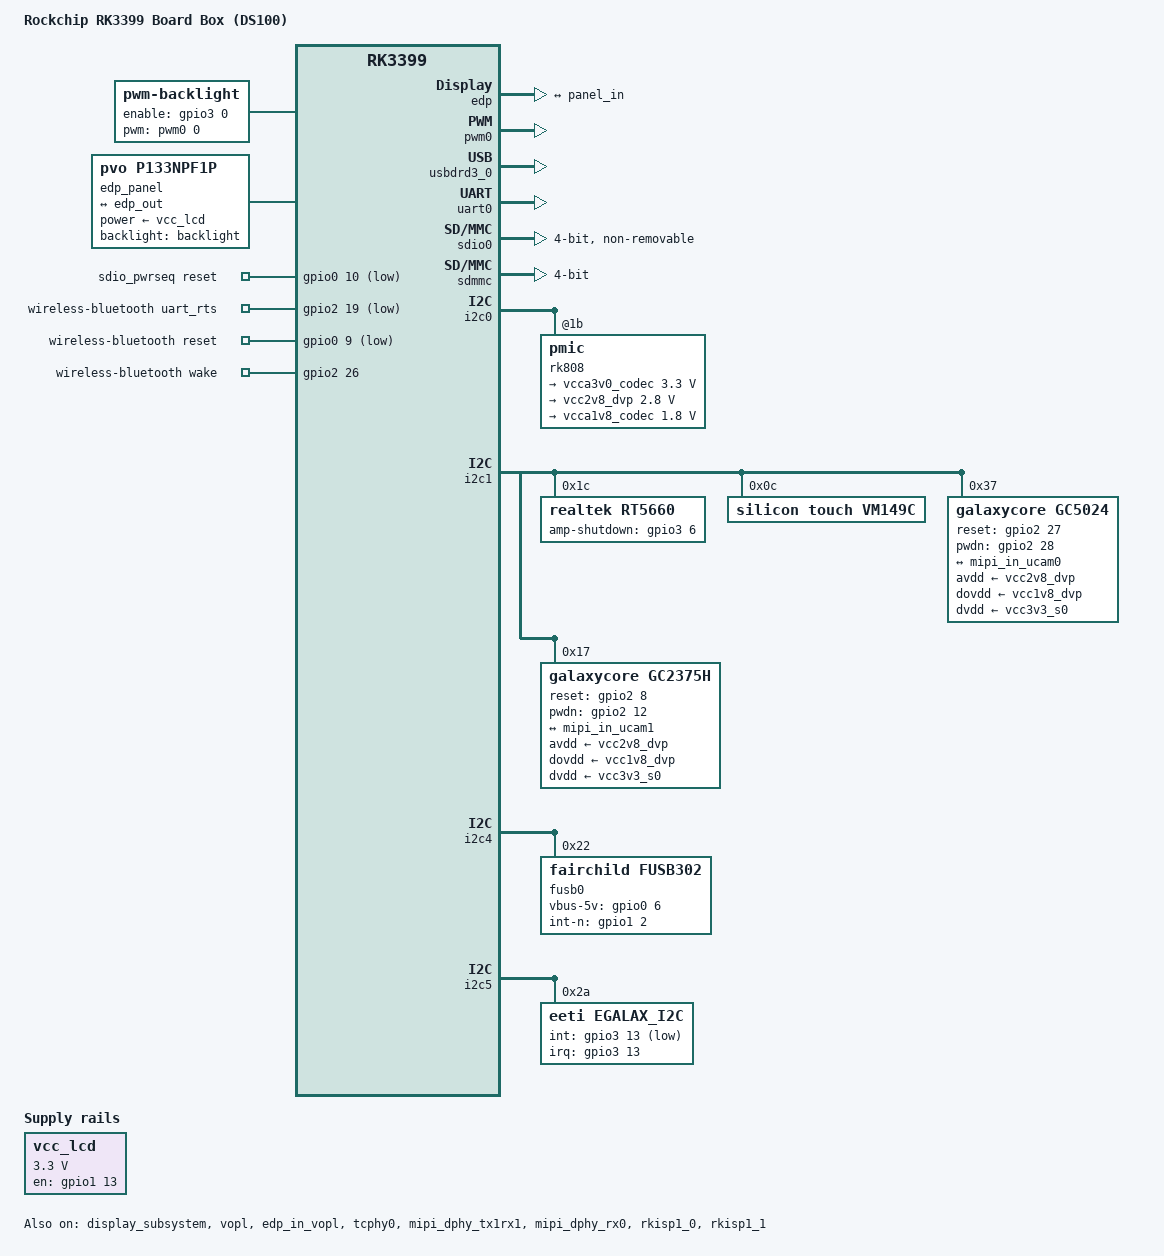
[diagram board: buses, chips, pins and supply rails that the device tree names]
/*
 * Copyright (c) 2016 Fuzhou Rockchip Electronics Co., Ltd
 *
 * This file is dual-licensed: you can use it either under the terms
 * of the GPL or the X11 license, at your option. Note that this dual
 * licensing only applies to this file, and not this project as a
 * whole.
 *
 *  a) This file is free software; you can redistribute it and/or
 *     modify it under the terms of the GNU General Public License as
 *     published by the Free Software Foundation; either version 2 of the
 *     License, or (at your option) any later version.
 *
 *     This file is distributed in the hope that it will be useful,
 *     but WITHOUT ANY WARRANTY; without even the implied warranty of
 *     MERCHANTABILITY or FITNESS FOR A PARTICULAR PURPOSE.  See the
 *     GNU General Public License for more details.
 *
 * Or, alternatively,
 *
 *  b) Permission is hereby granted, free of charge, to any person
 *     obtaining a copy of this software and associated documentation
 *     files (the "Software"), to deal in the Software without
 *     restriction, including without limitation the rights to use,
 *     copy, modify, merge, publish, distribute, sublicense, and/or
 *     sell copies of the Software, and to permit persons to whom the
 *     Software is furnished to do so, subject to the following
 *     conditions:
 *
 *     The above copyright notice and this permission notice shall be
 *     included in all copies or substantial portions of the Software.
 *
 *     THE SOFTWARE IS PROVIDED "AS IS", WITHOUT WARRANTY OF ANY KIND,
 *     EXPRESS OR IMPLIED, INCLUDING BUT NOT LIMITED TO THE WARRANTIES
 *     OF MERCHANTABILITY, FITNESS FOR A PARTICULAR PURPOSE AND
 *     NONINFRINGEMENT. IN NO EVENT SHALL THE AUTHORS OR COPYRIGHT
 *     HOLDERS BE LIABLE FOR ANY CLAIM, DAMAGES OR OTHER LIABILITY,
 *     WHETHER IN AN ACTION OF CONTRACT, TORT OR OTHERWISE, ARISING
 *     FROM, OUT OF OR IN CONNECTION WITH THE SOFTWARE OR THE USE OR
 *     OTHER DEALINGS IN THE SOFTWARE.
 */

/dts-v1/;
#include "rk3399-dmssa53.dtsi"

/ {
	model = "Rockchip RK3399 Board Box (DS100)";
	compatible = "rockchip-ds100","rockchip,rk3399-box";

	fiq_debugger: fiq-debugger {
		compatible = "rockchip,fiq-debugger";
		rockchip,serial-id = <2>;
		rockchip,wake-irq = <0>;
		rockchip,irq-mode-enable = <0>;  /* If enable uart uses irq instead of fiq */
		rockchip,baudrate = <115200>;  /* Only 115200 and 1500000 */
		pinctrl-names = "default";
		pinctrl-0 = <&uart2c_xfer>;
		interrupts = <GIC_SPI 150 IRQ_TYPE_LEVEL_HIGH 0>;
	};

	backlight: backlight {
		status = "okay";
		compatible = "pwm-backlight";
		pwms = <&pwm0 0 5000000 0>; //200 Hz
		enable-gpios = <&gpio3 0 GPIO_ACTIVE_HIGH>; //GPIO3_A0
		brightness-levels = <
			  0   1   2   3   4   5   6   7
			  8   9  10  11  12  13  14  15
			 16  17  18  19  20  21  22  23
			 24  25  26  27  28  29  30  31
			 32  33  34  35  36  37  38  39
			 40  41  42  43  44  45  46  47
			 48  49  50  51  52  53  54  55
			 56  57  58  59  60  61  62  63
			 64  65  66  67  68  69  70  71
			 72  73  74  75  76  77  78  79
			 80  81  82  83  84  85  86  87
			 88  89  90  91  92  93  94  95
			 96  97  98  99 100 101 102 103
			104 105 106 107 108 109 110 111
			112 113 114 115 116 117 118 119
			120 121 122 123 124 125 126 127
			128 129 130 131 132 133 134 135
			136 137 138 139 140 141 142 143
			144 145 146 147 148 149 150 151
			152 153 154 155 156 157 158 159
			160 161 162 163 164 165 166 167
			168 169 170 171 172 173 174 175
			176 177 178 179 180 181 182 183
			184 185 186 187 188 189 190 191
			192 193 194 195 196 197 198 199
			200 201 202 203 204 205 206 207
			208 209 210 211 212 213 214 215
			216 217 218 219 220 221 222 223
			224 225 226 227 228 229 230 231
			232 233 234 235 236 237 238 239
			240 241 242 243 244 245 246 247
			248 249 250 251 252 253 254 255>;
		default-brightness-level = <200>;
	};

	edp_panel: edp-panel {
		status = "okay";
		compatible = "pvo,p133npf1p", "panel-simple";
		backlight = <&backlight>;
		power-supply = <&vcc_lcd>;

		ports {
			panel_in: endpoint {
				remote-endpoint = <&edp_out>;
			};
		};
	};

	vcc_lcd: vcc-lcd-regulator {
		compatible = "regulator-fixed";
		enable-active-high;
		regulator-name = "vcc_lcd";
		gpio = <&gpio1 13 GPIO_ACTIVE_HIGH>;
		pinctrl-names = "default";
		pinctrl-0 = <&lcd_en>;
		regulator-always-on;
		regulator-boot-on;
		regulator-min-microvolt = <3300000>;
		regulator-max-microvolt = <3300000>;
	};

	sdio_pwrseq: sdio-pwrseq {
		compatible = "mmc-pwrseq-simple";
		clocks = <&rk808 1>;
		clock-names = "clk_wifi_pmu";
		pinctrl-names = "default";
		pinctrl-0 = <&wifi_enable_h>;

		/*
		 * On the module itself this is one of these (depending
		 * on the actual card populated):
		 * - SDIO_RESET_L_WL_REG_ON
		 * - PDN (power down when low)
		 */
		reset-gpios = <&gpio0 10 GPIO_ACTIVE_LOW>;  /* GPIO0_B2 - WIFI_REG_ON_H */
	};

	wireless-wlan {
		compatible = "wlan-platdata";
		rockchip,grf = <&grf>;
		wifi_chip_type = "ap6398s";
		sdio_vref = <1800>;
		status = "okay";
	};

	wireless-bluetooth {
		compatible = "bluetooth-platdata";
		clocks = <&rk808 1>;
		clock-names = "ext_clock";
		/* wifi-bt-power-toggle; */
		uart_rts_gpios = <&gpio2 19 GPIO_ACTIVE_LOW>; /* GPIO2_C3 - UART0_RTS */
		pinctrl-names = "default", "rts_gpio";
		pinctrl-0 = <&uart0_rts>;
		pinctrl-1 = <&uart0_gpios>;
		/* BT,power_gpio  = <&gpio3 19 GPIO_ACTIVE_HIGH>; */
		BT,reset_gpio    = <&gpio0 9 GPIO_ACTIVE_LOW>; /* GPIO0_B1 - BT_REG_ON_H */
		BT,wake_gpio     = <&gpio2 26 GPIO_ACTIVE_HIGH>; /* GPIO2_D2- BT_WAKE_L */
		/* BT,wake_host_irq = <&gpio0 4 GPIO_ACTIVE_HIGH>; */
		status = "okay";
	};

	rt5660-sound {
		compatible = "rockchip,rockchip-audio-rt5660";
		rockchip,model = "rockchip_rt5660";
		rockchip,i2s-controller = <&i2s0>;
		rockchip,audio-codec = <&rt5660>;
	};
};

&display_subsystem {
	status = "okay";
	ports = <&vopb_out>, <&vopl_out>;
	logo-memory-region = <&drm_logo>;
	route {
		route_edp: route-edp {
			status = "okay";
			logo,uboot = "logo.bmp";
			logo,kernel = "logo_kernel.bmp";
			logo,mode = "center";
			charge_logo,mode = "center";
			connect = <&vopl_out_edp>;
		};
	};
};

&edp {
	status = "okay";
	pinctrl-names = "default";
	pinctrl-0 = <&edp_hpd>;
	force-hpd;

	ports {
		port@1 {
			reg = <1>;
			#address-cells = <1>;
			#size-cells = <0>;
			edp_out: endpoint@0 {
				reg = <0>;
				remote-endpoint = <&panel_in>;
			};
		};
	};
};

&vopl {
	status = "okay";
};

&edp_in_vopl {
	status = "okay";
};

&vopl_mmu {
	status = "okay";
};

&pwm0 {
	status = "okay";
};

&usbdrd3_0 {
	extcon = <&fusb0>;
	status = "okay";
};

&tcphy0 {
	extcon = <&fusb0>;
	status = "okay";
};

&usbdrd3_1 {
	status = "disabled";
};

&usbdrd_dwc3_1 {
	status = "disabled";
};

&tcphy1 {
	status = "disabled";
};

&uart0 {
	pinctrl-names = "default";
	pinctrl-0 = <&uart0_xfer &uart0_cts>;
	status = "okay";
};

&sdio0 {
	clock-frequency = <150000000>;
	clock-freq-min-max = <200000 150000000>;
	supports-sdio;
	bus-width = <4>;
	disable-wp;
	cap-sd-highspeed;
	keep-power-in-suspend;
	mmc-pwrseq = <&sdio_pwrseq>;
	non-removable;
	num-slots = <1>;
	pinctrl-names = "default";
	pinctrl-0 = <&sdio0_bus4 &sdio0_cmd &sdio0_clk>;
	sd-uhs-sdr104;
	status = "okay";
};

&sdmmc {
	clock-frequency = <100000000>;
	clock-freq-min-max = <100000 100000000>;
	supports-sd;
	bus-width = <4>;
	cap-mmc-highspeed;
	cap-sd-highspeed;
	disable-wp;
	num-slots = <1>;
	vqmmc-supply = <&vcc_sd>;
	pinctrl-names = "default";
	pinctrl-0 = <&sdmmc_clk &sdmmc_cmd &sdmmc_cd &sdmmc_bus4>;
	card-detect-delay = <800>;
	status = "okay";
};

&i2c0 {
	rk808: pmic@1b {
		regulators {
			vcca3v0_codec: LDO_REG2 {
				regulator-name = "vcca3v0_codec";
				regulator-min-microvolt = <3300000>;
				regulator-max-microvolt = <3300000>;
				regulator-always-on;
				regulator-boot-on;
				regulator-state-mem {
					regulator-on-in-suspend;
					regulator-suspend-microvolt = <3300000>;
				};
			};
			vcc2v8_dvp: LDO_REG5 {
				regulator-name = "vcc2v8_dvp";
				regulator-min-microvolt = <2800000>;
				regulator-max-microvolt = <2800000>;
				regulator-always-on;
				regulator-boot-on;
				regulator-state-mem {
					regulator-on-in-suspend;
					regulator-suspend-microvolt = <2800000>;
				};
			};
			vcca1v8_codec: LDO_REG7 {
				regulator-name = "vcca1v8_codec";
				regulator-min-microvolt = <1800000>;
				regulator-max-microvolt = <1800000>;
				regulator-always-on;
				regulator-boot-on;
				regulator-state-mem {
					regulator-on-in-suspend;
					regulator-suspend-microvolt = <1800000>;
				};
			};
		};
	};
};

&i2c1 {
	status = "okay";
	rt5660: rt5660@1c {
		#sound-dai-cells = <0>;
		compatible = "realtek,rt5660";
		reg = <0x1c>;
		/* codec-avdd-gpio = <&gpio3 10 GPIO_ACTIVE_LOW>; */
		/* codec-avdd-delay = <100>; */
		/* codec-micvdd-gpio = <&gpio3 11 GPIO_ACTIVE_HIGH>; */
		/* codec-spkvdd-gpio = <&gpio3 12 GPIO_ACTIVE_HIGH>; */
		amp-shutdown-gpio = <&gpio3 6 GPIO_ACTIVE_HIGH>; /* GPIO3_A6 - AMP_SHUTDN */
		/* amp-mute-gpio = <&gpio6 5 GPIO_ACTIVE_HIGH>; */

		clocks = <&cru SCLK_I2S_8CH_OUT>;
		clock-names = "mclk";
		/* interrupt-parent = <&gpio6>; */
		/* interrupts = <7 IRQ_TYPE_EDGE_FALLING>; */
		pinctrl-names = "default";
		pinctrl-0 = <&i2s_8ch_mclk>;
	};
		vm149c: vm149c@0c {
		compatible = "silicon touch,vm149c";
		status = "okay";
		reg = <0x0c>;
		rockchip,camera-module-index = <0>;
		rockchip,camera-module-facing = "back";
	};
	
	gc5024: gc5024@37 {
		compatible = "galaxycore,gc5024";
		status = "okay";
		reg = <0x37>;
		clocks = <&cru SCLK_CIF_OUT>;
		clock-names = "xvclk";
		avdd-supply = <&vcc2v8_dvp>;
		dovdd-supply = <&vcc1v8_dvp>;
		dvdd-supply = <&vcc3v3_s0>;

		reset-gpios = <&gpio2 27 GPIO_ACTIVE_HIGH>;
		pwdn-gpios = <&gpio2 28 GPIO_ACTIVE_HIGH>;
		pinctrl-names = "rockchip,camera_default";
		pinctrl-0 = <&cif_clkout>;
		rockchip,camera-module-index = <0>;
		rockchip,camera-module-facing = "back";
		rockchip,camera-module-name = "CMK-CT0116";
		rockchip,camera-module-lens-name = "Largan-50013A1";
		lens-focus = <&vm149c>;

		port {
			ucam_out0: endpoint {
				remote-endpoint = <&mipi_in_ucam0>;
				data-lanes = <1 2>;
			};
		};
	};
	

	gc2375h: gc2375h@17 {
		compatible = "galaxycore,gc2375h";
		status = "okay";
		reg = <0x17>;
		clocks = <&cru SCLK_CIF_OUT>;
		clock-names = "xvclk";
		
		avdd-supply = <&vcc2v8_dvp>;
		dovdd-supply = <&vcc1v8_dvp>;
		dvdd-supply = <&vcc3v3_s0>;

		reset-gpios = <&gpio2 8 GPIO_ACTIVE_HIGH>;
		pwdn-gpios = <&gpio2 12 GPIO_ACTIVE_HIGH>;
		pinctrl-names = "rockchip,camera_default";
		pinctrl-0 = <&cif_clkout>;
		rockchip,camera-module-index = <0>;
		rockchip,camera-module-facing = "front";
		rockchip,camera-module-name = "CMK-CT0116";
		rockchip,camera-module-lens-name = "Largan-50013A1";

		port {
			ucam_out1: endpoint {
				remote-endpoint = <&mipi_in_ucam1>;
				data-lanes = <1>;
			};
		};
	};
};

&i2c4 {
	status = "okay";
	fusb0: fusb30x@22 {
		compatible = "fairchild,fusb302";
		reg = <0x22>;
		pinctrl-names = "default";
		pinctrl-0 = <&fusb0_int>;
		vbus-5v-gpios = <&gpio0 6 GPIO_ACTIVE_HIGH>;
		int-n-gpios = <&gpio1 2 GPIO_ACTIVE_HIGH>;
		fusb302,role = "ROLE_MODE_DRP";
		status = "okay";
	};
};

&i2c5 {
	status = "okay";
	egalax_i2c@2a {
		compatible = "eeti,egalax_i2c";
		reg = <0x2a>;
		interrupt-parent = <&gpio3>;
		interrupts = <13 8>;
		int-gpios = <&gpio3 13 GPIO_ACTIVE_LOW>;
	};
};
&isp0_mmu {
	status = "okay";
};

&isp1_mmu {
	status = "okay";
};

&mipi_dphy_tx1rx1 {
	status = "okay";

	ports {
		#address-cells = <1>;
		#size-cells = <0>;

		port@0 {
			reg = <0>;
			#address-cells = <1>;
			#size-cells = <0>;

			mipi_in_ucam1: endpoint@1 {
				reg = <1>;
				/* Unlinked camera */
				remote-endpoint = <&ucam_out1>;
				data-lanes = <1>;
			};
		};

		port@1 {
			reg = <1>;
			#address-cells = <1>;
			#size-cells = <0>;

			dphy_tx1rx1_out: endpoint@0 {
				reg = <0>;
				remote-endpoint = <&isp1_mipi_in>;
			};
		};
	};
};

&mipi_dphy_rx0 {
	status = "okay";

	ports {
		#address-cells = <1>;
		#size-cells = <0>;

		port@0 {
			reg = <0>;
			#address-cells = <1>;
			#size-cells = <0>;

			mipi_in_ucam0: endpoint@1 {
				reg = <1>;
				remote-endpoint = <&ucam_out0>;
				data-lanes = <1 2>;
			};
		};

		port@1 {
			reg = <1>;
			#address-cells = <1>;
			#size-cells = <0>;

			dphy_rx0_out: endpoint@0 {
				reg = <0>;
				remote-endpoint = <&isp0_mipi_in>;
			};
		};
	};
};
&rkisp1_0 {
	status = "okay";

	port {
		#address-cells = <1>;
		#size-cells = <0>;

		isp0_mipi_in: endpoint@0 {
			reg = <0>;
			remote-endpoint = <&dphy_rx0_out>;
		};
	};
};

&rkisp1_1 {
	status = "okay";

	port {
		#address-cells = <1>;
		#size-cells = <0>;

		isp1_mipi_in: endpoint@0 {
			reg = <0>;
			remote-endpoint = <&dphy_tx1rx1_out>;
		};
	};
};
&pinctrl {
	fusb30x {
		fusb0_int: fusb0-int {
			rockchip,pins =
				<1 2 RK_FUNC_GPIO &pcfg_pull_up>;
		};
	};
	lcd-panel {
		lcd_en: lcd-en {
			rockchip,pins = <1 13 RK_FUNC_GPIO &pcfg_pull_none>; //GPIO1_B4 / EDP_LCD_EN
		};
	};
	sdio-pwrseq {
		wifi_enable_h: wifi-enable-h {
			rockchip,pins =
				<0 10 RK_FUNC_GPIO &pcfg_pull_none>; /* GPIO0_B2 - WIFI_REG_ON_H */
		};
	};
	wireless-bluetooth {
		uart0_gpios: uart0-gpios {
			rockchip,pins =
				<2 19 RK_FUNC_GPIO &pcfg_pull_none>;
		};
	};
};
